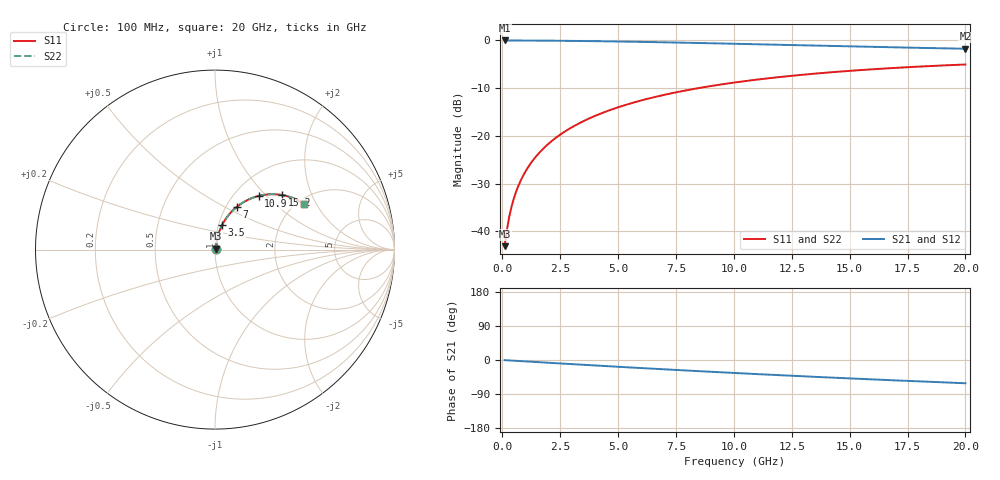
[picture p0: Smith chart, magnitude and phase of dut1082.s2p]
! Touchstone file exported from HFSS 2026.1.0
!  File:  C:/ffzhzh/LocalFiles/Ansys_Project_Files/temp_train_BSMRDL_1082_1783174440_43440.aedt
!  Generated:  10:15:22 PM Jul  4, 2026
!  Design:  BSMRDL
!  Project:  temp_train_BSMRDL_1082_1783174440_43440
! Variables:
!  h_bsmrdl = 4.01um
!  h_ox = 20um
!  h_rdl = 5um
!  h_sub = 80um
!  h_tmrdl = 5um
!  h_tsv = 80um
!  h_via = 3um
!  l_bsmrdl = 946.77um
!  l_sub = 1346.77um
!  l_tmrdl = 200um
!  m_sub = 200um
!  pitch = 45.98um
!  r_tsv = 6um
!  s_tmrdl = 10um
!  w_bsmrdl = 15.48um
!  w_sub = 500um
!  w_tmrdl = 12um
!  x_tsv_center1 = 206um
!  x_tsv_center2 = 1168.25um
!  x_tsv_center3 = 1380.25um
!  x_tsv_center4 = 2342.5um
!  x_tsv_center5 = 2554.5um
!  x_tsv_center6 = 3516.75um
# GHz S MA R 50.000000
! Terminal data exported
! Port[1] = BSM_RDL1_1_T1
! Port[2] = BSM_RDL1_1_T2
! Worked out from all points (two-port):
!   200 points, 100 MHz to 20 GHz, reference 50 ohm
!   highest |S21| = -0.05 dB at 100 MHz (marker M1); lowest = -1.8 dB at 20 GHz (marker M2)
!   |S21| within 3 dB of the highest: start of sweep to end of sweep
!   lowest |S11| = -43.1 dB at 100 MHz (marker M3), VSWR 1.01, Z = 50.5 + j0.442 ohm
!   |S11| at or under -10 dB: start of sweep to 8.495 GHz
!   |S22| runs from -43.1 to -5.1 dB; largest |S21 - S12| = 9.9e-15
!   S11 on the Smith chart (normalised r, x): 100 MHz: 1.01, +0.01; 3.5 GHz: 1.04, +0.29; 7 GHz: 1.12, +0.58; 10.9 GHz: 1.28, +0.90; 15.2 GHz: 1.59, +1.26; 20 GHz: 2.17, +1.60
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0.1  0.00701 38.6  0.9945 -0.4  0.9945 -0.4  0.00701 38.6
! Gamma 0 0 0 0
! Port Impedance 50 0 50 0
0.2  0.01039 56.6  0.9944 -0.8  0.9944 -0.8  0.01039 56.6
0.3  0.01422 64.9  0.9941 -1.1  0.9941 -1.1  0.01422 64.9
0.4  0.01817 69.4  0.9939 -1.5  0.9939 -1.5  0.01817 69.4
0.5  0.02216 72.1  0.9937 -1.9  0.9937 -1.9  0.02216 72.2
0.6  0.02617 74.0  0.9935 -2.2  0.9935 -2.2  0.02617 74.0
0.8  0.03422 76.2  0.993 -3.0  0.993 -3.0  0.03422 76.3
1.1  0.04637 77.7  0.9923 -4.0  0.9923 -4.0  0.04637 77.7
1.5  0.0626 78.2  0.9912 -5.5  0.9912 -5.5  0.0626 78.2
2.1  0.08686 77.5  0.989 -7.7  0.989 -7.7  0.08685 77.5
2.7  0.1108 76.1  0.9861 -9.8  0.9861 -9.8  0.1108 76.2
3.5  0.1422 73.9  0.9814 -12.7  0.9814 -12.7  0.1422 73.9
5  0.1988 69.2  0.9701 -17.9  0.9701 -17.9  0.1987 69.2
6.8  0.2619 63.4  0.9534 -24.0  0.9534 -24.0  0.2619 63.5
7  0.2686 62.8  0.9514 -24.6  0.9514 -24.6  0.2686 62.9
8.5  0.3164 58.1  0.9356 -29.5  0.9356 -29.5  0.3164 58.2
10.1  0.363 53.3  0.9178 -34.5  0.9178 -34.5  0.363 53.4
10.9  0.3847 50.9  0.9087 -36.9  0.9087 -36.9  0.3846 51.0
13.4  0.4451 43.9  0.8803 -44.2  0.8803 -44.2  0.4451 44.0
15.2  0.4822 39.0  0.8607 -49.1  0.8607 -49.1  0.4822 39.2
16.7  0.5092 35.2  0.8451 -53.1  0.8451 -53.1  0.5092 35.3
20  0.5574 27.1  0.8148 -61.3  0.8148 -61.3  0.5574 27.2
